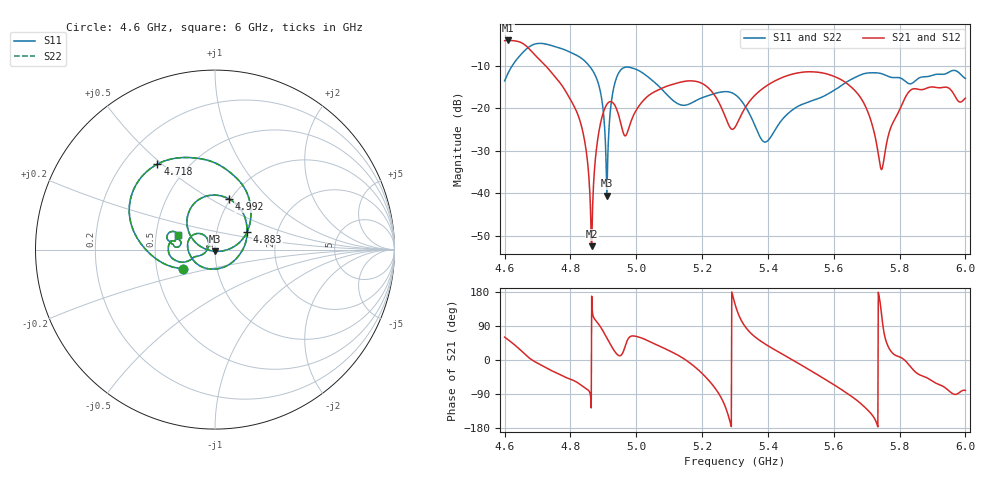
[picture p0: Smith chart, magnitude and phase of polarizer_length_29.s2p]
! TOUCHSTONE file generated by CST MICROWAVE STUDIO
! Date and time: Sun Dec  1 17:17:06 2024
! Project name: test_tuning.cst
! Parameters = {airCoaxOuterDiameter=3; chamferAngle=45; chamferWidth=24; connectorLength=10; drillingHoleDiameter=4.1; feedLength=60; flareDiameter=130; flareLength=70; gratingDistance=0; gratingGap=1.90274; outletLength=30; polarizerLength=120; probe1Diameter=1.3; probe1Distance=14; probe1Length=1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
! Header version: 2024
! Port assignment regex: !\s*Touchstone port\s*([0-9]+)\s*=\s*(CST MWS port|CST DES external port|CST DES block port)\s*(.+)\s* \(\"(.*)\"\)(\s*mode\s*([0-9]+))?.*
! Touchstone port assignment:
! Touchstone port 1 = CST MWS port 1 ("Input1")
! Touchstone port 2 = CST MWS port 2 ("Input2")
# GHz S MA R 50
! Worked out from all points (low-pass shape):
!   1001 points, 4.6 GHz to 6 GHz, reference 50 ohm
!   highest |S21| = -4.08 dB at 4.611 GHz (marker M1); lowest = -52.5 dB at 4.865 GHz (marker M2)
!   |S21| within 3 dB of the highest: start of sweep to 4.687 GHz
!   lowest |S11| = -40.6 dB at 4.911 GHz (marker M3), VSWR 1.02, Z = 49.8 - j0.908 ohm
!   |S11| at or under -10 dB: start of sweep to 4.623 GHz; 4.857 GHz to end of sweep
!   |S22| runs from -40.6 to -4.8 dB; largest |S21 - S12| = 5.2e-07
!   S11 on the Smith chart (normalised r, x): 4.6 GHz: 0.68, -0.15; 4.718 GHz: 0.34, +0.48; 4.883 GHz: 1.40, +0.29; 4.992 GHz: 0.98, +0.61; 6 GHz: 0.65, +0.11
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4.6  0.2088 -149.4  0.622 60.4  0.622 60.4  0.2088 -149.4
4.6112  0.2611 -158.7  0.6251 53.1  0.6251 53.1  0.2611 -158.7
4.6714  0.5149 157.8  0.513 7.8  0.513 7.8  0.5149 157.8
4.7176  0.5742 123.9  0.3367 -16.7  0.3367 -16.7  0.5742 123.9
4.8338  0.3852 65.5  0.06081 -67.2  0.06081 -67.2  0.3852 65.5
4.8646  0.2872 45.8  0.002371 168.5  0.002371 168.5  0.2872 45.8
4.8828  0.2057 29.2  0.0428 97.8  0.0428 97.8  0.2057 29.2
4.9108  0.00934 -102.5  0.1108 58.1  0.1108 58.1  0.00934 -102.5
4.9248  0.1222 158.3  0.1186 36.1  0.1186 36.1  0.1222 158.3
4.9388  0.2209 135.0  0.1004 17.8  0.1004 17.8  0.2209 135.0
4.9654  0.3019 99.2  0.04718 34.0  0.04718 34.0  0.3019 99.2
4.992  0.2929 74.7  0.08282 63.4  0.08282 63.4  0.2929 74.7
5.0676  0.1824 17.1  0.1641 37.9  0.1641 37.9  0.1824 17.1
5.1992  0.1318 -148.8  0.1957 -34.8  0.1957 -34.8  0.1318 -148.8
5.3  0.1445 144.2  0.05951 147.6  0.05951 147.6  0.1445 144.2
5.391  0.03985 161.8  0.1775 42.5  0.1775 42.5  0.03985 161.8
5.5338  0.1222 -160.4  0.2674 -30.0  0.2674 -30.0  0.1222 -160.4
5.6766  0.2413 -168.0  0.1413 -110.9  0.1413 -110.9  0.2413 -168.0
5.7438  0.255 171.6  0.01911 131.6  0.01911 131.6  0.255 171.6
5.7676  0.2338 168.0  0.05043 31.7  0.05043 31.7  0.2338 168.0
5.8376  0.1955 173.1  0.1664 -22.1  0.1664 -22.1  0.1955 173.1
6  0.2236 158.5  0.1309 -80.3  0.1309 -80.3  0.2236 158.5
